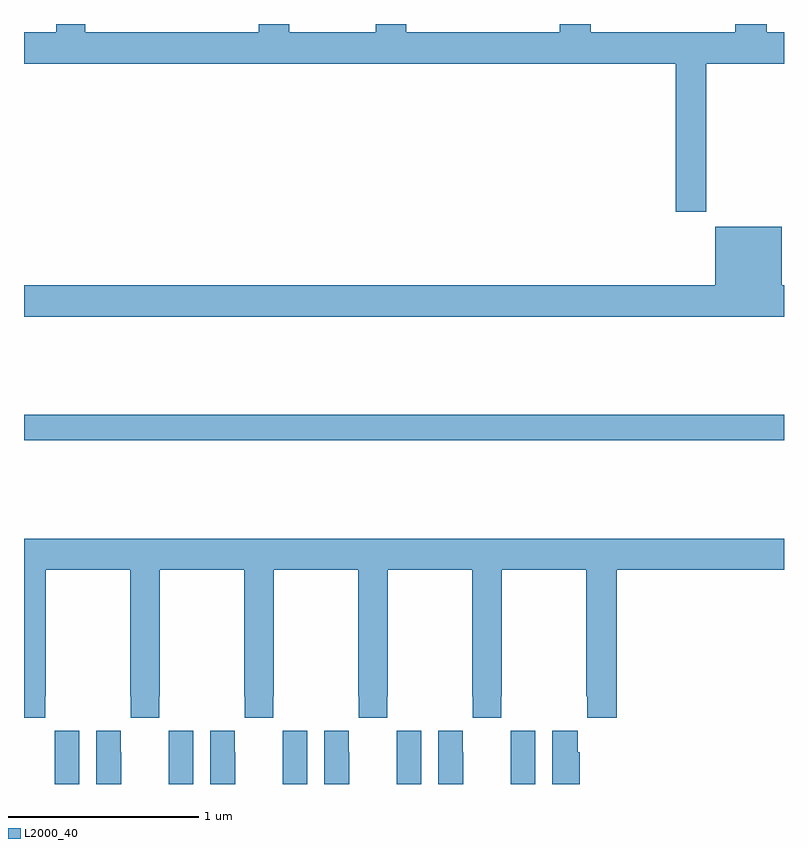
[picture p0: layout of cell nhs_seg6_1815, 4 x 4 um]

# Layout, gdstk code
import gdstk
lib = gdstk.Library(unit=1e-6, precision=1e-09)
def R(c, l, rs):  # rectangles x0, y0, x1, y1
    for r in rs: c.add(gdstk.rectangle(r[:2], r[2:], *l))
def P(c, l, *ps):  # polygons
    for p in ps: c.add(gdstk.Polygon(p, *l))
L2000_40 = (2000, 40)

nhs_seg6_1815 = lib.new_cell('nhs_seg6_1815')
R(nhs_seg6_1815, L2000_40, [(219,989.308,223,989.444)])
P(nhs_seg6_1815, L2000_40, [(220.852,991.456),(220.395,991.456),(220.395,991.5),(220.235,991.5),(220.235,991.456),(219.323,991.456),(219.323,991.5),(219.17,991.5),(219.17,991.456),(219,991.456),(219,991.292),(222.431,991.292),(222.431,990.513),(222.591,990.513),(222.591,991.292),(223,991.292),(223,991.456),(222.908,991.456),(222.908,991.5),(222.743,991.5),(222.743,991.456),(221.984,991.456),(221.984,991.5),(221.819,991.5),(221.819,991.456),(221.012,991.456),(221.012,991.5),(220.852,991.5)],
  [(223,990.124),(222.988,990.124),(222.988,990.433),(222.638,990.433),(222.638,990.124),(219,990.124),(219,989.96),(223,989.96)],
  [(219.111,987.961),(219.114,987.961),(219.114,988.628),(219.559,988.628),(219.559,987.961),(219.561,987.961),(219.561,987.849),(219.711,987.849),(219.711,987.961),(219.714,987.961),(219.714,988.628),(220.159,988.628),(220.159,987.961),(220.161,987.961),(220.161,987.849),(220.311,987.849),(220.311,987.961),(220.314,987.961),(220.314,988.628),(220.759,988.628),(220.759,987.961),(220.761,987.961),(220.761,987.849),(220.911,987.849),(220.911,987.961),(220.914,987.961),(220.914,988.628),(221.359,988.628),(221.359,987.961),(221.361,987.961),(221.361,987.849),(221.511,987.849),(221.511,987.961),(221.514,987.961),(221.514,988.628),(221.959,988.628),(221.959,987.961),(221.965,987.961),(221.965,987.849),(222.119,987.849),(222.119,988.628),(223,988.628),(223,988.792),(219,988.792),(219,987.849),(219.111,987.849)],
  [(221.924,987.668),(221.914,987.668),(221.914,987.781),(221.78,987.781),(221.78,987.5),(221.924,987.5)],
  [(221.092,987.781),(220.962,987.781),(220.962,987.668),(220.961,987.668),(220.961,987.5),(221.092,987.5)],
  [(221.311,987.668),(221.31,987.668),(221.31,987.781),(221.18,987.781),(221.18,987.5),(221.311,987.5)],
  [(220.711,987.668),(220.71,987.668),(220.71,987.781),(220.58,987.781),(220.58,987.5),(220.711,987.5)],
  [(220.492,987.781),(220.362,987.781),(220.362,987.668),(220.361,987.668),(220.361,987.5),(220.492,987.5)],
  [(220.111,987.668),(220.11,987.668),(220.11,987.781),(219.98,987.781),(219.98,987.5),(220.111,987.5)],
  [(219.892,987.781),(219.762,987.781),(219.762,987.668),(219.761,987.668),(219.761,987.5),(219.892,987.5)],
  [(219.511,987.668),(219.51,987.668),(219.51,987.781),(219.38,987.781),(219.38,987.5),(219.511,987.5)],
  [(219.292,987.781),(219.162,987.781),(219.162,987.668),(219.161,987.668),(219.161,987.5),(219.292,987.5)],
  [(221.692,987.781),(221.562,987.781),(221.562,987.668),(221.561,987.668),(221.561,987.5),(221.692,987.5)])

lib.write_gds('nhs_seg6_1815.gds')
